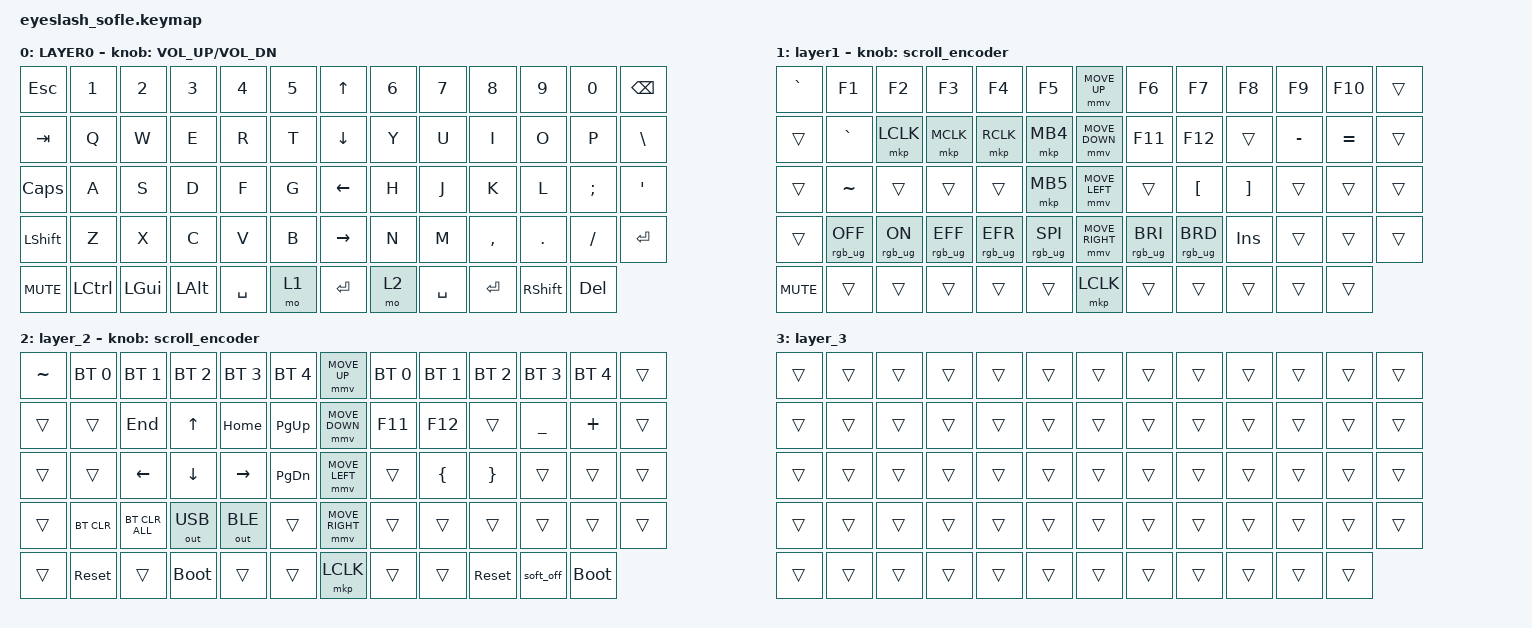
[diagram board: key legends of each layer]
#define ZMK_POINTING_DEFAULT_MOVE_VAL 1200  // 600
#define ZMK_POINTING_DEFAULT_SCRL_VAL 35    // 10
#include <input/processors.dtsi>
#include <behaviors.dtsi>
#include <dt-bindings/zmk/bt.h>
#include <dt-bindings/zmk/keys.h>
#include <dt-bindings/zmk/outputs.h>
#include <dt-bindings/zmk/pointing.h>
#include <dt-bindings/zmk/ext_power.h>
#include <dt-bindings/zmk/rgb.h>
#include <zephyr/dt-bindings/input/input-event-codes.h>

/ {
  zip_scroll_scaler: zip_scroll_scaler {
    compatible = "zmk,input-processor-scaler";
    #input-processor-cells = <2>;
    type = <INPUT_EV_REL>;
    codes = <INPUT_REL_WHEEL INPUT_REL_HWHEEL>;
    track-remainders;
  };
};

&mmv_input_listener {
       input-processors = <&zip_xy_scaler 2 1>;
};

&msc_input_listener {
       input-processors = <&zip_scroll_scaler 2 1>;
};

&msc {
    acceleration-exponent = <0>;      // 0
    time-to-max-speed-ms = <0>;       // 300
    delay-ms = <0>;                   // 0
};

&mmv {
    time-to-max-speed-ms = <400>;
    acceleration-exponent = <1>;
};


/ {
    scroll_encoder: scroll_encoder {
        compatible = "zmk,behavior-sensor-rotate";
        #sensor-binding-cells = <0>;
        bindings = <&msc SCRL_DOWN>, <&msc SCRL_UP>;

        tap-ms = <30>;
    };

    keymap {
        compatible = "zmk,keymap";

        layer0 {
            bindings = <
&kp ESC     &kp N1     &kp N2        &kp N3        &kp N4      &kp N5       &kp UP_ARROW     &kp N6     &kp N7       &kp N8     &kp N9           &kp N0      &kp BACKSPACE
&kp TAB     &kp Q      &kp W         &kp E         &kp R       &kp T        &kp DOWN_ARROW   &kp Y      &kp U        &kp I      &kp O            &kp P       &kp BSLH
&kp CAPS    &kp A      &kp S         &kp D         &kp F       &kp G        &kp LEFT_ARROW   &kp H      &kp J        &kp K      &kp L            &kp SEMI    &kp APOS
&kp LSHFT   &kp Z      &kp X         &kp C         &kp V       &kp B        &kp RIGHT_ARROW  &kp N      &kp M        &kp COMMA  &kp DOT          &kp FSLH    &kp ENTER
&kp C_MUTE  &kp LCTRL  &kp LEFT_GUI  &kp LEFT_ALT  &kp SPACE   &mo 1        &kp ENTER        &mo 2       &kp SPACE   &kp ENTER      &kp RIGHT_SHIFT  &kp DELETE
            >;

            sensor-bindings = <&inc_dec_kp C_VOLUME_UP C_VOL_DN>;
            display-name = "LAYER0";
        };

        layer_1 {
            bindings = <
&kp GRAVE   &kp F1           &kp F2          &kp F3           &kp F4           &kp F5             &mmv MOVE_UP     &kp F6            &kp F7            &kp F8                &kp F9     &kp F10        &trans
&trans      &kp GRAVE        &mkp LCLK       &mkp MCLK        &mkp RCLK        &mkp MB4           &mmv MOVE_DOWN   &kp F11           &kp F12           &trans               &kp MINUS   &kp EQUAL      &trans
&trans      &kp TILDE        &trans          &trans           &trans           &mkp MB5           &mmv MOVE_LEFT   &trans            &kp LEFT_BRACKET  &kp RIGHT_BRACKET    &trans      &trans         &trans
&trans      &rgb_ug RGB_OFF  &rgb_ug RGB_ON  &rgb_ug RGB_EFF  &rgb_ug RGB_EFR  &rgb_ug RGB_SPI    &mmv MOVE_RIGHT  &rgb_ug RGB_BRI   &rgb_ug RGB_BRD   &kp INSERT  &trans   &trans      &trans
&kp C_MUTE  &trans           &trans          &trans           &trans           &trans             &mkp LCLK        &trans            &trans            &trans      &trans    &trans
            >;

            display-name = "layer1";
            sensor-bindings = <&scroll_encoder>;
        };

        layer_2 {
            bindings = <
&kp TILDE    &bt BT_SEL 0    &bt BT_SEL 1    &bt BT_SEL 2  &bt BT_SEL 3    &bt BT_SEL 4    &mmv MOVE_UP     &bt BT_SEL 0  &bt BT_SEL 1    &bt BT_SEL 2  &bt BT_SEL 3    &bt BT_SEL 4      &trans
&trans       &trans          &kp END         &kp UP        &kp HOME        &kp PG_UP       &mmv MOVE_DOWN   &kp F11       &kp F12         &trans        &kp UNDER       &kp PLUS          &trans
&trans       &trans          &kp LEFT        &kp DOWN      &kp RIGHT       &kp PG_DN       &mmv MOVE_LEFT   &trans        &kp LBRC        &kp RBRC      &trans          &trans            &trans
&trans       &bt BT_CLR      &bt BT_CLR_ALL  &out OUT_USB  &out OUT_BLE    &trans          &mmv MOVE_RIGHT  &trans        &trans          &trans        &trans          &trans            &trans
&trans       &sys_reset      &trans          &bootloader   &trans          &trans          &mkp LCLK        &trans        &trans          &sys_reset    &soft_off       &bootloader
            >;

            sensor-bindings = <&scroll_encoder>;
        };

        layer_3 {
            bindings = <
&trans  &trans  &trans  &trans  &trans  &trans    &trans  &trans  &trans  &trans  &trans  &trans  &trans
&trans  &trans  &trans  &trans  &trans  &trans    &trans  &trans  &trans  &trans  &trans  &trans  &trans
&trans  &trans  &trans  &trans  &trans  &trans    &trans  &trans  &trans  &trans  &trans  &trans  &trans
&trans  &trans  &trans  &trans  &trans  &trans    &trans  &trans  &trans  &trans  &trans  &trans  &trans
&trans  &trans  &trans  &trans  &trans  &trans    &trans  &trans  &trans  &trans  &trans  &trans
            >;
        };
    };
};
